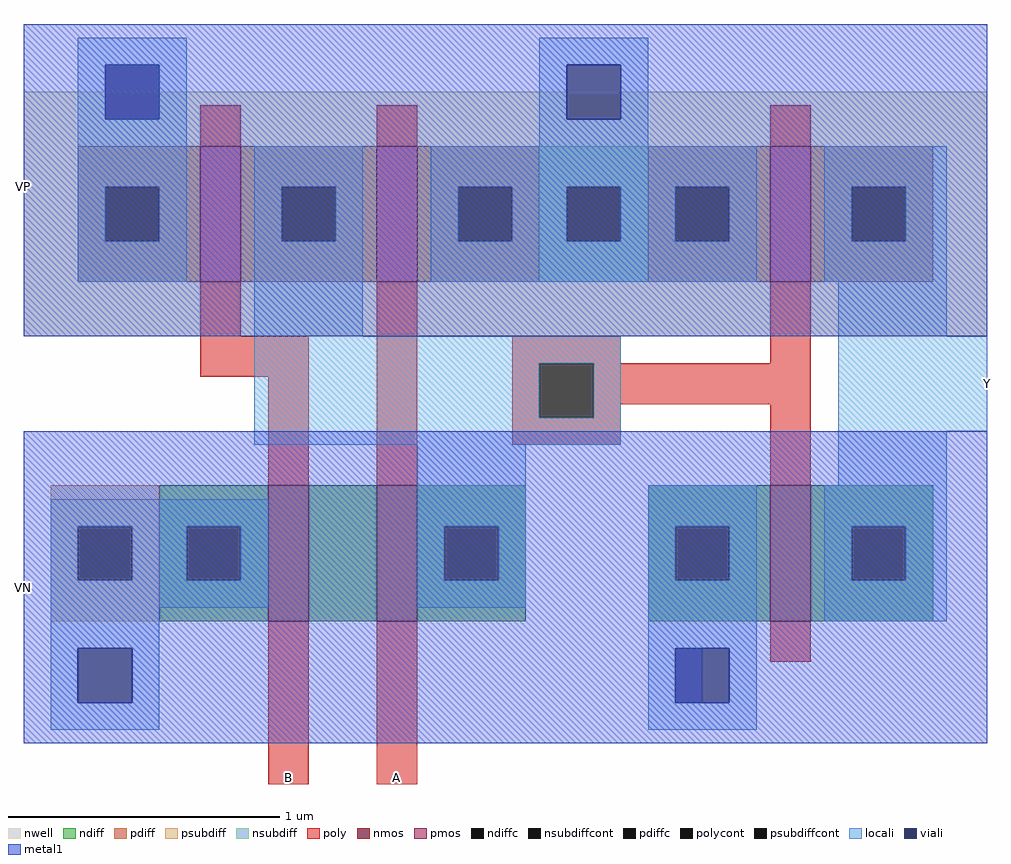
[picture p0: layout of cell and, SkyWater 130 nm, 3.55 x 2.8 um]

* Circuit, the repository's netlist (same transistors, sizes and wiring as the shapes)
* SPICE3 file created from and.ext - technology: sky130A

.subckt inverter A Y VN VP
X0 Y A VN VN sky130_fd_pr__nfet_01v8 ad=0.225 pd=1.9 as=0.225 ps=1.9 w=0.5 l=0.15
X1 Y A VP VP sky130_fd_pr__pfet_01v8 ad=0.225 pd=1.9 as=0.225 ps=1.9 w=0.5 l=0.15
.ends

.subckt nand B A VN VP Y
X0 Y A a_60_n20# VN sky130_fd_pr__nfet_01v8 ad=0.2 pd=1.8 as=0.0625 ps=0.75 w=0.5 l=0.15
X1 a_60_n20# B VN VN sky130_fd_pr__nfet_01v8 ad=0.0625 pd=0.75 as=0.2 ps=1.8 w=0.5 l=0.15
X2 Y B VP VP sky130_fd_pr__pfet_01v8 ad=0.125 pd=1 as=0.225 ps=1.9 w=0.5 l=0.15
X3 VP A Y VP sky130_fd_pr__pfet_01v8 ad=0.225 pd=1.9 as=0.125 ps=1 w=0.5 l=0.15
.ends

** .subckt and
Xinverter_0 nand_0/Y Y VN VP inverter
Xnand_0 B A VN VP nand_0/Y nand
**.ends

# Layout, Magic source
magic
tech sky130A
<< poly >>
rect 100 0 115 15
rect 140 0 155 15
<< locali >>
rect 350 130 365 165
<< metal1 >>
rect 10 165 20 280
rect 10 15 20 130
use inverter  inverter_0
transform 1 0 85 0 1 70
box -75 -55 280 210
use nand  nand_0
transform 1 0 85 0 1 70
box -75 -60 175 210
<< labels >>
rlabel metal1 10 65 10 80 7 VN
rlabel metal1 10 215 10 225 7 VP
rlabel locali 365 145 365 150 3 Y
rlabel poly 100 0 115 5 5 B
rlabel poly 140 0 155 5 5 A
<< end >>

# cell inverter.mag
magic
tech sky130A
<< nwell >>
rect -75 95 280 185
<< nmos >>
rect 200 -10 215 40
<< pmos >>
rect 200 115 215 165
<< ndiff >>
rect 155 25 200 40
rect 155 5 165 25
rect 185 5 200 25
rect 155 -10 200 5
rect 215 25 260 40
rect 215 5 230 25
rect 250 5 260 25
rect 215 -10 260 5
<< pdiff >>
rect 155 150 200 165
rect 155 130 165 150
rect 185 130 200 150
rect 155 115 200 130
rect 215 150 260 165
rect 215 130 230 150
rect 250 130 260 150
rect 215 115 260 130
<< ndiffc >>
rect 165 5 185 25
rect 230 5 250 25
<< pdiffc >>
rect 165 130 185 150
rect 230 130 250 150
<< psubdiff >>
rect -65 25 -25 40
rect -65 5 -55 25
rect -35 5 -25 25
rect -65 -10 -25 5
<< nsubdiff >>
rect 115 150 155 165
rect 115 130 125 150
rect 145 130 155 150
rect 115 115 155 130
<< psubdiffcont >>
rect -55 5 -35 25
<< nsubdiffcont >>
rect 125 130 145 150
<< poly >>
rect 200 165 215 180
rect 105 85 145 95
rect 200 85 215 115
rect 105 65 115 85
rect 135 70 215 85
rect 135 65 145 70
rect 105 55 145 65
rect 200 40 215 70
rect 200 -25 215 -10
<< polycont >>
rect 115 65 135 85
<< locali >>
rect 115 195 155 205
rect 115 175 125 195
rect 145 175 155 195
rect 115 165 155 175
rect 115 150 195 165
rect 115 130 125 150
rect 145 130 165 150
rect 185 130 195 150
rect 115 115 195 130
rect 220 150 265 165
rect 220 130 230 150
rect 250 130 265 150
rect 220 115 265 130
rect 225 95 265 115
rect 105 85 145 95
rect 105 65 115 85
rect 135 65 145 85
rect 105 55 145 65
rect 225 60 280 95
rect 225 40 265 60
rect -65 25 -25 35
rect -65 5 -55 25
rect -35 5 -25 25
rect -65 -20 -25 5
rect -65 -40 -55 -20
rect -35 -40 -25 -20
rect -65 -50 -25 -40
rect 155 25 195 40
rect 155 5 165 25
rect 185 5 195 25
rect 155 -20 195 5
rect 220 25 265 40
rect 220 5 230 25
rect 250 5 265 25
rect 220 -10 265 5
rect 155 -40 165 -20
rect 185 -40 195 -20
rect 155 -50 195 -40
<< viali >>
rect 125 175 145 195
rect -55 -40 -35 -20
rect 165 -40 185 -20
<< metal1 >>
rect -75 195 280 210
rect -75 175 125 195
rect 145 175 280 195
rect -75 95 280 175
rect -75 -20 280 60
rect -75 -40 -55 -20
rect -35 -40 165 -20
rect 185 -40 280 -20
rect -75 -55 280 -40
<< labels >>
rlabel locali 105 70 105 80 7 A
port 1 w
rlabel locali 280 75 280 80 3 Y
port 2 e
rlabel metal1 -75 0 -75 5 7 VN
port 3 w
rlabel metal1 -75 150 -75 155 7 VP
port 4 w
<< end >>

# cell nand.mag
magic
tech sky130A
<< nwell >>
rect -75 95 175 185
<< nmos >>
rect 15 -10 30 40
rect 55 -10 70 40
<< pmos >>
rect -10 115 5 165
rect 55 115 70 165
<< ndiff >>
rect -25 25 15 40
rect -25 5 -15 25
rect 5 5 15 25
rect -25 -10 15 5
rect 30 -10 55 40
rect 70 25 110 40
rect 70 5 80 25
rect 100 5 110 25
rect 70 -10 110 5
<< pdiff >>
rect -55 150 -10 165
rect -55 130 -45 150
rect -25 130 -10 150
rect -55 115 -10 130
rect 5 150 55 165
rect 5 130 20 150
rect 40 130 55 150
rect 5 115 55 130
rect 70 150 115 165
rect 70 130 85 150
rect 105 130 115 150
rect 70 115 115 130
<< ndiffc >>
rect -15 5 5 25
rect 80 5 100 25
<< pdiffc >>
rect -45 130 -25 150
rect 20 130 40 150
rect 85 130 105 150
<< psubdiff >>
rect -65 25 -25 40
rect -65 5 -55 25
rect -35 5 -25 25
rect -65 -10 -25 5
<< nsubdiff >>
rect 115 150 155 165
rect 115 130 125 150
rect 145 130 155 150
rect 115 115 155 130
<< psubdiffcont >>
rect -55 5 -35 25
<< nsubdiffcont >>
rect 125 130 145 150
<< poly >>
rect -10 165 5 180
rect 55 165 70 180
rect -10 95 5 115
rect -10 80 30 95
rect 15 40 30 80
rect 55 40 70 115
rect 15 -60 30 -10
rect 55 -60 70 -10
<< locali >>
rect -55 195 -15 205
rect -55 175 -45 195
rect -25 175 -15 195
rect -55 150 -15 175
rect 115 195 155 205
rect 115 175 125 195
rect 145 175 155 195
rect 115 165 155 175
rect -55 130 -45 150
rect -25 130 -15 150
rect -55 115 -15 130
rect 10 150 50 165
rect 10 130 20 150
rect 40 130 50 150
rect 10 95 50 130
rect 75 150 155 165
rect 75 130 85 150
rect 105 130 125 150
rect 145 130 155 150
rect 75 115 155 130
rect 10 55 110 95
rect -65 25 15 35
rect -65 5 -55 25
rect -35 5 -15 25
rect 5 5 15 25
rect -65 -5 15 5
rect 70 25 110 55
rect 70 5 80 25
rect 100 5 110 25
rect 70 -5 110 5
rect -65 -20 -25 -5
rect -65 -40 -55 -20
rect -35 -40 -25 -20
rect -65 -50 -25 -40
<< viali >>
rect -45 175 -25 195
rect 125 175 145 195
rect -55 -40 -35 -20
<< metal1 >>
rect -75 195 175 210
rect -75 175 -45 195
rect -25 175 125 195
rect 145 175 175 195
rect -75 95 175 175
rect -75 -20 175 60
rect -75 -40 -55 -20
rect -35 -40 175 -20
rect -75 -55 175 -40
<< labels >>
rlabel metal1 -75 0 -75 5 7 VN
port 3 w
rlabel metal1 -75 150 -75 155 7 VP
port 4 w
rlabel locali 110 75 110 80 3 Y
port 5 e
rlabel poly 15 -60 30 -60 5 B
port 1 s
rlabel poly 55 -60 70 -60 5 A
port 2 s
<< end >>
